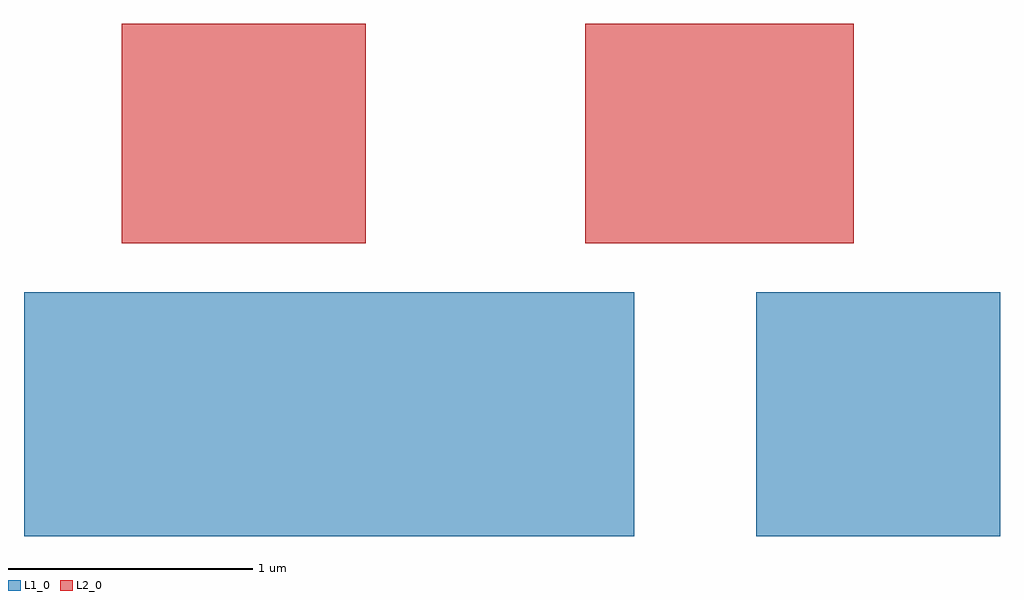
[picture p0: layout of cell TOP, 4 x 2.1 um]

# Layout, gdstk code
import gdstk
lib = gdstk.Library(unit=1e-6, precision=1e-09)
def R(c, l, rs):  # rectangles x0, y0, x1, y1
    for r in rs: c.add(gdstk.rectangle(r[:2], r[2:], *l))
def A(c, l, x, y, w, h, nx, ny, dx, dy):  # array of equal rectangles
    R(c, l, [(x+i*dx, y+j*dy, x+i*dx+w, y+j*dy+h) for i in range(nx) for j in range(ny)])
L1_0 = (1, 0)
L2_0 = (2, 0)

top = lib.new_cell('TOP')
A(top, L1_0, 0, 0, 1, 1, 3, 1, 1.5, 0)
R(top, L1_0, [(0.7,0,1.8,1)])
R(top, L2_0, [(0.4,1.2,1.4,2.1), (2.3,1.2,3.4,2.1)])

lib.write_gds('TOP.gds')
